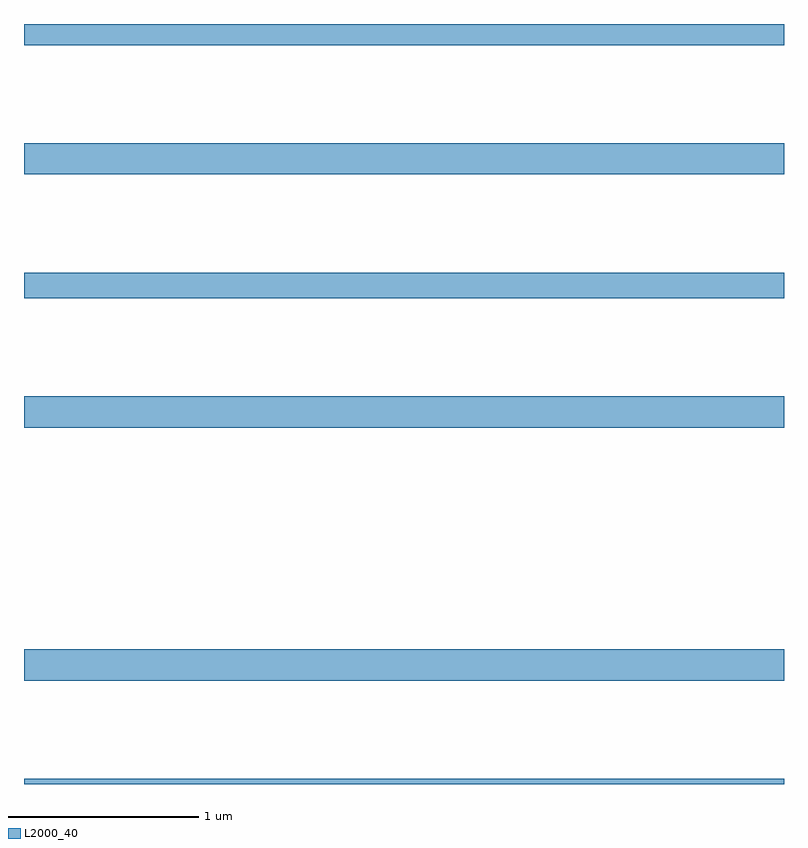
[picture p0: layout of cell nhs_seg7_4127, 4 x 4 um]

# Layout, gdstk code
import gdstk
lib = gdstk.Library(unit=1e-6, precision=1e-09)
def R(c, l, rs):  # rectangles x0, y0, x1, y1
    for r in rs: c.add(gdstk.rectangle(r[:2], r[2:], *l))
def A(c, l, x, y, w, h, nx, ny, dx, dy):  # array of equal rectangles
    R(c, l, [(x+i*dx, y+j*dy, x+i*dx+w, y+j*dy+h) for i in range(nx) for j in range(ny)])
L2000_40 = (2000, 40)

nhs_seg7_4127 = lib.new_cell('nhs_seg7_4127')
A(nhs_seg7_4127, L2000_40, 371, 1072.544, 4, 0.164, 1, 3, 0, 1.332)
R(nhs_seg7_4127, L2000_40, [(371,1072,375,1072.028), (371,1074.556,375,1074.692), (371,1075.888,375,1076)])

lib.write_gds('nhs_seg7_4127.gds')
